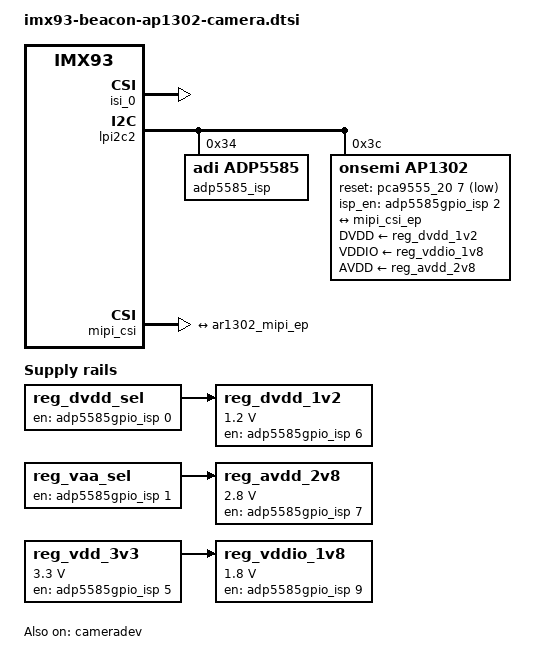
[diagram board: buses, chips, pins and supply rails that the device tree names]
// SPDX-License-Identifier: (GPL-2.0+ OR MIT)
/*
 * Copyright 2026 Logic PD, Inc dba Beacon EmbeddedWorks
 */

/ {
	reg_avdd_2v8: regulator-avdd {
		compatible = "regulator-fixed";
		regulator-name = "AVDD_2V8";
		gpio = <&adp5585gpio_isp 7 GPIO_ACTIVE_HIGH>;
		regulator-min-microvolt = <2800000>;
		regulator-max-microvolt = <2800000>;
		enable-active-high;
		vin-supply = <&reg_vaa_sel>;
	};

	reg_dvdd_1v2: regulator-dvdd {
		compatible = "regulator-fixed";
		regulator-name = "DVDD_1V2";
		gpio = <&adp5585gpio_isp 6 GPIO_ACTIVE_HIGH>;
		regulator-min-microvolt = <1200000>;
		regulator-max-microvolt = <1200000>;
		enable-active-high;
		vin-supply = <&reg_dvdd_sel>;
	};

	reg_dvdd_sel: regulator-dvdd_sel {
		compatible = "regulator-fixed";
		regulator-name = "DVDD_SEL";
		gpio = <&adp5585gpio_isp 0 GPIO_ACTIVE_HIGH>;
		enable-active-high;
		startup-delay-us = <2000>;
	};

	reg_vaa_sel: regulator-vaa_sel {
		compatible = "regulator-fixed";
		regulator-name = "VAA_SEL";
		gpio = <&adp5585gpio_isp 1 GPIO_ACTIVE_HIGH>;
		enable-active-high;
	};

	reg_vdd_3v3: regulator-vdd {
		compatible = "regulator-fixed";
		regulator-name = "VDD_3V3";
		gpio = <&adp5585gpio_isp 5 GPIO_ACTIVE_HIGH>;
		regulator-min-microvolt = <3300000>;
		regulator-max-microvolt = <3300000>;
		startup-delay-us = <4000>;
		enable-active-high;
	};

	reg_vddio_1v8: regulator-vddo {
		compatible = "regulator-fixed";
		regulator-name = "VDDIO_1V8";
		gpio = <&adp5585gpio_isp 9 GPIO_ACTIVE_HIGH>;
		regulator-min-microvolt = <1800000>;
		regulator-max-microvolt = <1800000>;
		startup-delay-us = <4000>;
		enable-active-high;
		vin-supply = <&reg_vdd_3v3>;
	};

};

&cameradev {
	status = "okay";
};

&isi_0 {
	status = "okay";

	cap_device {
		status = "okay";
	};
};

&lpi2c2 {
    adp5585_isp: mfd-isp@34 {
        compatible = "adi,adp5585";
        reg = <0x34>;
        status = "okay";

        adp5585gpio_isp: gpio-isp {
            compatible = "adp5585-gpio";
            gpio-controller;
            #gpio-cells = <2>;
        };

        adp5585pwm_isp: pwm-isp {
            compatible = "adp5585-pwm";
            #pwm-cells = <3>;
        };
    };

	ap1302: ap1302_mipi@3c {
		compatible = "onsemi,ap1302";
		reg = <0x3c>;
		reset-gpios   = <&pca9555_20 7 GPIO_ACTIVE_LOW>;
		isp_en-gpios  = <&adp5585gpio_isp 2 GPIO_ACTIVE_HIGH>;
		DVDD-supply   = <&reg_dvdd_1v2>;
		VDDIO-supply  = <&reg_vddio_1v8>;
		AVDD-supply   = <&reg_avdd_2v8>;
		status = "okay";

		port {
			ar1302_mipi_ep: endpoint {
				remote-endpoint = <&mipi_csi_ep>;
			};
		};
	};
};

&mipi_csi {
	status = "okay";

	port {
		mipi_csi_ep: endpoint {
			remote-endpoint = <&ar1302_mipi_ep>;
			data-lanes = <2>;
			cfg-clk-range = <28>;
			hs-clk-range = <0x2b>;
			bus-type = <4>;
		};
	};
};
